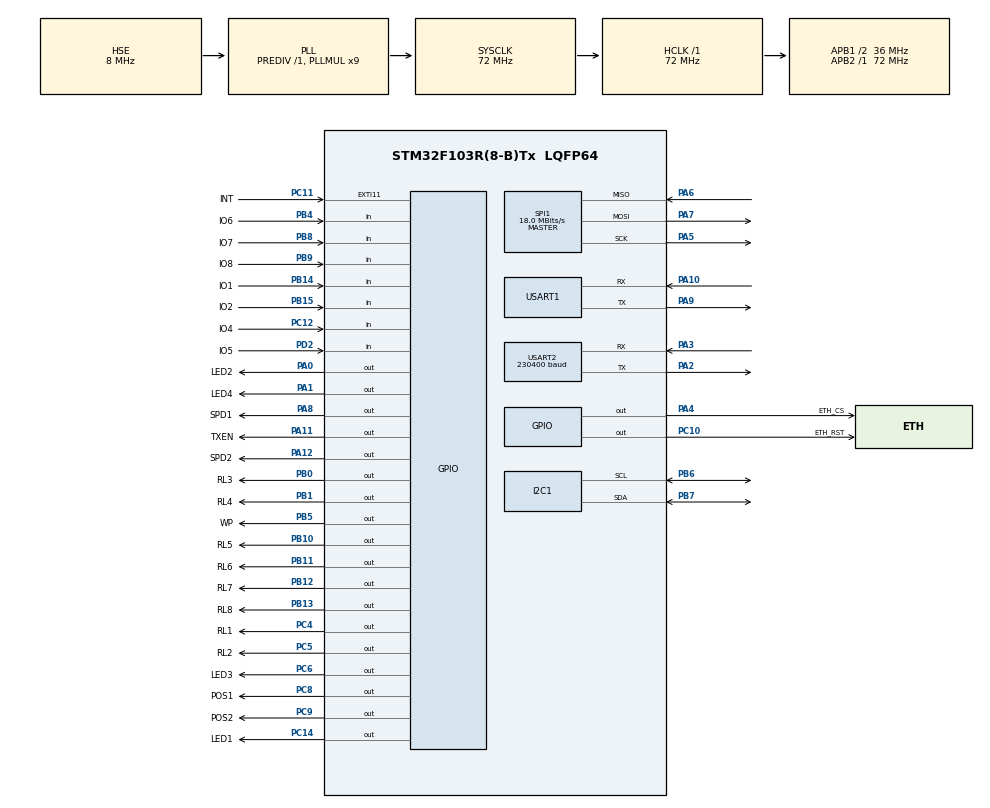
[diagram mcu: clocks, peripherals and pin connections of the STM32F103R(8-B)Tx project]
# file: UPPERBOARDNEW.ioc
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Dma.Request0=SPI1_RX
Dma.Request1=SPI1_TX
Dma.Request2=USART1_RX
Dma.Request3=USART1_TX
Dma.Request4=USART2_RX
Dma.Request5=USART2_TX
Dma.SPI1_RX.0.Direction=DMA_PERIPH_TO_MEMORY
Dma.SPI1_RX.0.Instance=DMA1_Channel2
Dma.SPI1_RX.0.MemDataAlignment=DMA_MDATAALIGN_BYTE
Dma.SPI1_RX.0.MemInc=DMA_MINC_ENABLE
Dma.SPI1_RX.0.Mode=DMA_NORMAL
Dma.SPI1_RX.0.PeriphDataAlignment=DMA_PDATAALIGN_BYTE
Dma.SPI1_RX.0.PeriphInc=DMA_PINC_DISABLE
Dma.SPI1_RX.0.Priority=DMA_PRIORITY_LOW
Dma.SPI1_TX.1.Direction=DMA_MEMORY_TO_PERIPH
Dma.SPI1_TX.1.Instance=DMA1_Channel3
Dma.SPI1_TX.1.MemDataAlignment=DMA_MDATAALIGN_BYTE
Dma.SPI1_TX.1.MemInc=DMA_MINC_ENABLE
Dma.SPI1_TX.1.Mode=DMA_NORMAL
Dma.SPI1_TX.1.PeriphDataAlignment=DMA_PDATAALIGN_BYTE
Dma.SPI1_TX.1.PeriphInc=DMA_PINC_DISABLE
Dma.SPI1_TX.1.Priority=DMA_PRIORITY_LOW
Dma.USART1_RX.2.Direction=DMA_PERIPH_TO_MEMORY
Dma.USART1_RX.2.Instance=DMA1_Channel5
Dma.USART1_RX.2.MemDataAlignment=DMA_MDATAALIGN_BYTE
Dma.USART1_RX.2.MemInc=DMA_MINC_ENABLE
Dma.USART1_RX.2.Mode=DMA_NORMAL
Dma.USART1_RX.2.PeriphDataAlignment=DMA_PDATAALIGN_BYTE
Dma.USART1_RX.2.PeriphInc=DMA_PINC_DISABLE
Dma.USART1_RX.2.Priority=DMA_PRIORITY_LOW
Dma.USART1_TX.3.Direction=DMA_MEMORY_TO_PERIPH
Dma.USART1_TX.3.Instance=DMA1_Channel4
Dma.USART1_TX.3.MemDataAlignment=DMA_MDATAALIGN_BYTE
Dma.USART1_TX.3.MemInc=DMA_MINC_ENABLE
Dma.USART1_TX.3.Mode=DMA_NORMAL
Dma.USART1_TX.3.PeriphDataAlignment=DMA_PDATAALIGN_BYTE
Dma.USART1_TX.3.PeriphInc=DMA_PINC_DISABLE
Dma.USART1_TX.3.Priority=DMA_PRIORITY_LOW
Dma.USART2_RX.4.Direction=DMA_PERIPH_TO_MEMORY
Dma.USART2_RX.4.Instance=DMA1_Channel6
Dma.USART2_RX.4.MemDataAlignment=DMA_MDATAALIGN_BYTE
Dma.USART2_RX.4.MemInc=DMA_MINC_ENABLE
Dma.USART2_RX.4.Mode=DMA_NORMAL
Dma.USART2_RX.4.PeriphDataAlignment=DMA_PDATAALIGN_BYTE
Dma.USART2_RX.4.PeriphInc=DMA_PINC_DISABLE
Dma.USART2_RX.4.Priority=DMA_PRIORITY_LOW
Dma.USART2_TX.5.Direction=DMA_MEMORY_TO_PERIPH
Dma.USART2_TX.5.Instance=DMA1_Channel7
Dma.USART2_TX.5.MemDataAlignment=DMA_MDATAALIGN_BYTE
Dma.USART2_TX.5.MemInc=DMA_MINC_ENABLE
Dma.USART2_TX.5.Mode=DMA_NORMAL
Dma.USART2_TX.5.PeriphDataAlignment=DMA_PDATAALIGN_BYTE
Dma.USART2_TX.5.PeriphInc=DMA_PINC_DISABLE
Dma.USART2_TX.5.Priority=DMA_PRIORITY_LOW
Mcu.Family=STM32F1
Mcu.Name=STM32F103R(8-B)Tx
Mcu.Package=LQFP64
NVIC.DMA1_Channel2_IRQn=true\:0\:0\:false\:false\:true\:false\:true\:true
NVIC.DMA1_Channel3_IRQn=true\:0\:0\:false\:false\:true\:false\:true\:true
NVIC.DMA1_Channel4_IRQn=true\:0\:0\:false\:false\:true\:false\:true\:true
NVIC.DMA1_Channel5_IRQn=true\:0\:0\:false\:false\:true\:false\:true\:true
NVIC.DMA1_Channel6_IRQn=true\:0\:0\:false\:false\:true\:false\:true\:true
NVIC.DMA1_Channel7_IRQn=true\:0\:0\:false\:false\:true\:false\:true\:true
NVIC.PriorityGroup=NVIC_PRIORITYGROUP_4
NVIC.SPI1_IRQn=true\:0\:0\:false\:false\:true\:true\:true\:true
NVIC.TIM2_IRQn=true\:0\:0\:false\:false\:true\:true\:true\:true
NVIC.USART1_IRQn=true\:0\:0\:false\:false\:true\:true\:true\:true
NVIC.USART2_IRQn=true\:0\:0\:false\:false\:true\:true\:true\:true
PA0-WKUP.GPIO_Label=LED2
PA0-WKUP.Signal=GPIO_Output
PA1.GPIO_Label=LED4
PA1.Signal=GPIO_Output
PA10.Mode=Asynchronous
PA10.Signal=USART1_RX
PA11.GPIO_Label=TXEN
PA11.GPIO_Speed=GPIO_SPEED_FREQ_MEDIUM
PA11.Signal=GPIO_Output
PA12.GPIO_Label=SPD2
PA12.Signal=GPIO_Output
PA13.Mode=JTAG_4_pins
PA13.Signal=SYS_JTMS-SWDIO
PA14.Mode=JTAG_4_pins
PA14.Signal=SYS_JTCK-SWCLK
PA15.Mode=JTAG_4_pins
PA15.Signal=SYS_JTDI
PA2.Mode=Asynchronous
PA2.Signal=USART2_TX
PA3.GPIO_PuPd=GPIO_PULLUP
PA3.Mode=Asynchronous
PA3.Signal=USART2_RX
PA4.GPIO_Label=ETH_CS
PA4.GPIO_Speed=GPIO_SPEED_FREQ_MEDIUM
PA4.PinState=GPIO_PIN_SET
PA4.Signal=GPIO_Output
PA5.Mode=Full_Duplex_Master
PA5.Signal=SPI1_SCK
PA6.Mode=Full_Duplex_Master
PA6.Signal=SPI1_MISO
PA7.Mode=Full_Duplex_Master
PA7.Signal=SPI1_MOSI
PA8.GPIO_Label=SPD1
PA8.Signal=GPIO_Output
PA9.Mode=Asynchronous
PA9.Signal=USART1_TX
PB0.GPIO_Label=RL3
PB0.Signal=GPIO_Output
PB1.GPIO_Label=RL4
PB1.Signal=GPIO_Output
PB10.GPIO_Label=RL5
PB10.Signal=GPIO_Output
PB11.GPIO_Label=RL6
PB11.Signal=GPIO_Output
PB12.GPIO_Label=RL7
PB12.Signal=GPIO_Output
PB13.GPIO_Label=RL8
PB13.Signal=GPIO_Output
PB14.GPIO_Label=IO1
PB14.Signal=GPIO_Input
PB15.GPIO_Label=IO2
PB15.Signal=GPIO_Input
PB3.Mode=JTAG_4_pins
PB3.Signal=SYS_JTDO-TRACESWO
PB4.GPIO_Label=IO6
PB4.Signal=GPIO_Input
PB5.GPIO_Label=WP
PB5.Signal=GPIO_Output
PB6.Mode=I2C
PB6.Signal=I2C1_SCL
PB7.Mode=I2C
PB7.Signal=I2C1_SDA
PB8.GPIO_Label=IO7
PB8.Signal=GPIO_Input
PB9.GPIO_Label=IO8
PB9.Signal=GPIO_Input
PC10.GPIO_Label=ETH_RST
PC10.Signal=GPIO_Output
PC11.GPIO_Label=INT
PC11.Signal=GPXTI11
PC12.GPIO_Label=IO4
PC12.Signal=GPIO_Input
PC14-OSC32_IN.GPIO_Label=LED1
PC14-OSC32_IN.Signal=GPIO_Output
PC4.GPIO_Label=RL1
PC4.Signal=GPIO_Output
PC5.GPIO_Label=RL2
PC5.Signal=GPIO_Output
PC6.GPIO_Label=LED3
PC6.Signal=GPIO_Output
PC8.GPIO_Label=POS1
PC8.Signal=GPIO_Output
PC9.GPIO_Label=POS2
PC9.Signal=GPIO_Output
PD0-OSC_IN.Mode=HSE-External-Oscillator
PD0-OSC_IN.Signal=RCC_OSC_IN
PD1-OSC_OUT.Mode=HSE-External-Oscillator
PD1-OSC_OUT.Signal=RCC_OSC_OUT
PD2.GPIO_Label=IO5
PD2.Signal=GPIO_Input
ProjectManager.HeapSize=0x400
ProjectManager.StackSize=0x800
ProjectManager.TargetToolchain=MDK-ARM V5.32
RCC.ADCPresc=RCC_ADCPCLK2_DIV6
RCC.AHBFreq_Value=72000000
RCC.APB1CLKDivider=RCC_HCLK_DIV2
RCC.APB1Freq_Value=36000000
RCC.APB1TimFreq_Value=72000000
RCC.APB2Freq_Value=72000000
RCC.APB2TimFreq_Value=72000000
RCC.HCLKFreq_Value=72000000
RCC.PLLMUL=RCC_PLL_MUL9
RCC.PLLSourceVirtual=RCC_PLLSOURCE_HSE
RCC.SYSCLKFreq_VALUE=72000000
RCC.SYSCLKSource=RCC_SYSCLKSOURCE_PLLCLK
RCC.USBFreq_Value=72000000
SPI1.BaudRatePrescaler=SPI_BAUDRATEPRESCALER_4
SPI1.CalculateBaudRate=18.0 MBits/s
SPI1.Direction=SPI_DIRECTION_2LINES
SPI1.Mode=SPI_MODE_MASTER
SPI1.VirtualType=VM_MASTER
TIM2.AutoReloadPreload=TIM_AUTORELOAD_PRELOAD_ENABLE
TIM2.Period=1000-1
TIM2.Prescaler=72-1
USART1.VirtualMode=VM_ASYNC
USART2.BaudRate=230400
USART2.VirtualMode=VM_ASYNC
VP_CRC_VS_CRC.Mode=CRC_Activate
VP_TIM2_VS_ClockSourceINT.Mode=Internal
board=custom

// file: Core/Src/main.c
/* USER CODE BEGIN Header */
/**
  ******************************************************************************
  * @file           : main.c
  * @brief          : Main program body
  ******************************************************************************
  * @attention
  *
  * Copyright (c) 2022 STMicroelectronics.
  * All rights reserved.
  *
  * This software is licensed under terms that can be found in the LICENSE file
  * in the root directory of this software component.
  * If no LICENSE file comes with this software, it is provided AS-IS.
  *
  ******************************************************************************
  */
/* USER CODE END Header */
#include "main.h"
#include "crc.h"
#include "dma.h"
#include "i2c.h"
#include "spi.h"
#include "tim.h"
#include "usart.h"
#include "gpio.h"

/* USER CODE BEGIN Includes */
#include "tim_services.h"
#include "data_exchange.h"
#include "network.h"
#include "protocol.h"
#include "socket.h"
#include "leds.h"
#include "relays.h"
#include "sys_conf.h"

/* USER CODE END Includes */

void SystemClock_Config(void);

int main(void)
{
  /* USER CODE BEGIN 1 */
uint32_t x ;
  /* USER CODE END 1 */

  /* MCU Configuration--------------------------------------------------------*/

  /* Reset of all peripherals, Initializes the Flash interface and the Systick. */
  HAL_Init();

  /* Configure the system clock */
  SystemClock_Config();

  /* Initialize all configured peripherals */
  MX_GPIO_Init();
  MX_DMA_Init();
  MX_I2C1_Init();
  MX_TIM2_Init();
  MX_CRC_Init();
  MX_SPI1_Init();
  MX_USART1_UART_Init();
  MX_USART2_UART_Init();
  /* USER CODE BEGIN 2 */
	HAL_GPIO_WritePin( TXEN_GPIO_Port , TXEN_Pin, GPIO_PIN_RESET);
  tim_init();
	data_engine_init();
	net_init();
	relays_init();
	if ( sysconf_checkdata( &cfgx ) == 1)
		  sysconf_read( &cfgx );
		else
			sysconf_write_defaults( &cfgx );
		klogicneg = cfgx.logic_neg;
  /* USER CODE END 2 */

  /* Infinite loop */
  /* USER CODE BEGIN WHILE */
  while (1)
  {
		net_engine();
		protocol_Engine();
		data_engine();
		relays_engine();
    /* USER CODE END WHILE */

  }
}

void SystemClock_Config(void)
{
  RCC_OscInitTypeDef RCC_OscInitStruct = {0};
  RCC_ClkInitTypeDef RCC_ClkInitStruct = {0};

  /** Initializes the RCC Oscillators according to the specified parameters
  * in the RCC_OscInitTypeDef structure.
  */
  RCC_OscInitStruct.OscillatorType = RCC_OSCILLATORTYPE_HSE;
  RCC_OscInitStruct.HSEState = RCC_HSE_ON;
  RCC_OscInitStruct.HSEPredivValue = RCC_HSE_PREDIV_DIV1;
  RCC_OscInitStruct.HSIState = RCC_HSI_ON;
  RCC_OscInitStruct.PLL.PLLState = RCC_PLL_ON;
  RCC_OscInitStruct.PLL.PLLSource = RCC_PLLSOURCE_HSE;
  RCC_OscInitStruct.PLL.PLLMUL = RCC_PLL_MUL9;
  if (HAL_RCC_OscConfig(&RCC_OscInitStruct) != HAL_OK)
  {
    Error_Handler();
  }

  /** Initializes the CPU, AHB and APB buses clocks
  */
  RCC_ClkInitStruct.ClockType = RCC_CLOCKTYPE_HCLK|RCC_CLOCKTYPE_SYSCLK
                              |RCC_CLOCKTYPE_PCLK1|RCC_CLOCKTYPE_PCLK2;
  RCC_ClkInitStruct.SYSCLKSource = RCC_SYSCLKSOURCE_PLLCLK;
  RCC_ClkInitStruct.AHBCLKDivider = RCC_SYSCLK_DIV1;
  RCC_ClkInitStruct.APB1CLKDivider = RCC_HCLK_DIV2;
  RCC_ClkInitStruct.APB2CLKDivider = RCC_HCLK_DIV1;

  if (HAL_RCC_ClockConfig(&RCC_ClkInitStruct, FLASH_LATENCY_2) != HAL_OK)
  {
    Error_Handler();
  }
}

void Error_Handler(void)
{
  __disable_irq();
  while (1)
  {
  }
}
